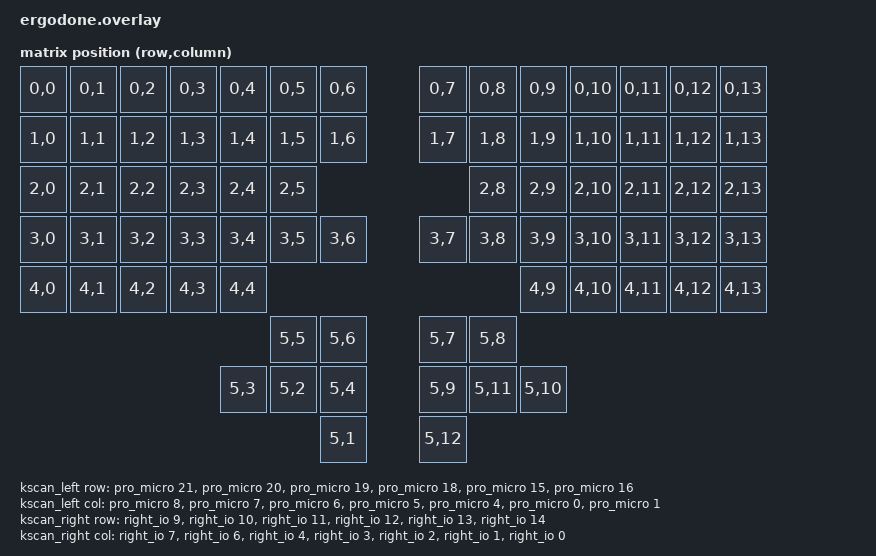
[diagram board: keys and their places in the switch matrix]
/*
 * Copyright (c) 2023 The ZMK Contributors
 *
 * SPDX-License-Identifier: MIT
 */
#include <dt-bindings/zmk/matrix_transform.h>

/ {
    chosen {
        zmk,kscan = &kscan0;
        zmk,matrix_transform = &default_transform;
    };

  // Wakeup key nodes - one per row of the left half (col2row, rows are inputs).
    // Must be children of gpio-keys so the gpios property gets the phandle-array
    // binding needed for GPIO nexus (pro_micro) resolution.
    wakeup_keys: wakeup_keys {
        compatible = "gpio-keys";
        wk_row0: wk_row0 { gpios = <&pro_micro 21 (GPIO_ACTIVE_HIGH | GPIO_PULL_DOWN)>; };
        wk_row1: wk_row1 { gpios = <&pro_micro 20 (GPIO_ACTIVE_HIGH | GPIO_PULL_DOWN)>; };
        wk_row2: wk_row2 { gpios = <&pro_micro 19 (GPIO_ACTIVE_HIGH | GPIO_PULL_DOWN)>; };
        wk_row3: wk_row3 { gpios = <&pro_micro 18 (GPIO_ACTIVE_HIGH | GPIO_PULL_DOWN)>; };
        wk_row4: wk_row4 { gpios = <&pro_micro 15 (GPIO_ACTIVE_HIGH | GPIO_PULL_DOWN)>; };
        wk_row5: wk_row5 { gpios = <&pro_micro 16 (GPIO_ACTIVE_HIGH | GPIO_PULL_DOWN)>; };
    };

    // Wakeup trigger nodes - RESUME configures GPIO SENSE on the row pin and drives
    // all column pins HIGH, so any key press wakes from SYSTEM_OFF.
    wk_trig0: wk_trig0 {
        compatible = "zmk,gpio-key-wakeup-trigger";
        trigger = <&wk_row0>;
        wakeup-source;
        extra-gpios
            = <&pro_micro 8 GPIO_ACTIVE_HIGH>
            , <&pro_micro 7 GPIO_ACTIVE_HIGH>
            , <&pro_micro 6 GPIO_ACTIVE_HIGH>
            , <&pro_micro 5 GPIO_ACTIVE_HIGH>
            , <&pro_micro 4 GPIO_ACTIVE_HIGH>
            , <&pro_micro 0 GPIO_ACTIVE_HIGH>
            , <&pro_micro 1 GPIO_ACTIVE_HIGH>
            ;
    };
    wk_trig1: wk_trig1 {
        compatible = "zmk,gpio-key-wakeup-trigger";
        trigger = <&wk_row1>;
        wakeup-source;
        extra-gpios
            = <&pro_micro 8 GPIO_ACTIVE_HIGH>
            , <&pro_micro 7 GPIO_ACTIVE_HIGH>
            , <&pro_micro 6 GPIO_ACTIVE_HIGH>
            , <&pro_micro 5 GPIO_ACTIVE_HIGH>
            , <&pro_micro 4 GPIO_ACTIVE_HIGH>
            , <&pro_micro 0 GPIO_ACTIVE_HIGH>
            , <&pro_micro 1 GPIO_ACTIVE_HIGH>
            ;
    };
    wk_trig2: wk_trig2 {
        compatible = "zmk,gpio-key-wakeup-trigger";
        trigger = <&wk_row2>;
        wakeup-source;
        extra-gpios
            = <&pro_micro 8 GPIO_ACTIVE_HIGH>
            , <&pro_micro 7 GPIO_ACTIVE_HIGH>
            , <&pro_micro 6 GPIO_ACTIVE_HIGH>
            , <&pro_micro 5 GPIO_ACTIVE_HIGH>
            , <&pro_micro 4 GPIO_ACTIVE_HIGH>
            , <&pro_micro 0 GPIO_ACTIVE_HIGH>
            , <&pro_micro 1 GPIO_ACTIVE_HIGH>
            ;
    };
    wk_trig3: wk_trig3 {
        compatible = "zmk,gpio-key-wakeup-trigger";
        trigger = <&wk_row3>;
        wakeup-source;
        extra-gpios
            = <&pro_micro 8 GPIO_ACTIVE_HIGH>
            , <&pro_micro 7 GPIO_ACTIVE_HIGH>
            , <&pro_micro 6 GPIO_ACTIVE_HIGH>
            , <&pro_micro 5 GPIO_ACTIVE_HIGH>
            , <&pro_micro 4 GPIO_ACTIVE_HIGH>
            , <&pro_micro 0 GPIO_ACTIVE_HIGH>
            , <&pro_micro 1 GPIO_ACTIVE_HIGH>
            ;
    };
    wk_trig4: wk_trig4 {
        compatible = "zmk,gpio-key-wakeup-trigger";
        trigger = <&wk_row4>;
        wakeup-source;
        extra-gpios
            = <&pro_micro 8 GPIO_ACTIVE_HIGH>
            , <&pro_micro 7 GPIO_ACTIVE_HIGH>
            , <&pro_micro 6 GPIO_ACTIVE_HIGH>
            , <&pro_micro 5 GPIO_ACTIVE_HIGH>
            , <&pro_micro 4 GPIO_ACTIVE_HIGH>
            , <&pro_micro 0 GPIO_ACTIVE_HIGH>
            , <&pro_micro 1 GPIO_ACTIVE_HIGH>
            ;
    };
    wk_trig5: wk_trig5 {
        compatible = "zmk,gpio-key-wakeup-trigger";
        trigger = <&wk_row5>;
        wakeup-source;
        extra-gpios
            = <&pro_micro 8 GPIO_ACTIVE_HIGH>
            , <&pro_micro 7 GPIO_ACTIVE_HIGH>
            , <&pro_micro 6 GPIO_ACTIVE_HIGH>
            , <&pro_micro 5 GPIO_ACTIVE_HIGH>
            , <&pro_micro 4 GPIO_ACTIVE_HIGH>
            , <&pro_micro 0 GPIO_ACTIVE_HIGH>
            , <&pro_micro 1 GPIO_ACTIVE_HIGH>
            ;
    };

    soft_off_wakers: soft_off_wakers {
        compatible = "zmk,soft-off-wakeup-sources";
        wakeup-sources = <&wk_trig0 &wk_trig1 &wk_trig2 &wk_trig3 &wk_trig4 &wk_trig5>;
    };


    kscan0: kscan {
        compatible = "zmk,kscan-composite";
        label = "KSCAN";
        rows = <6>;
        columns = <14>;

        left {
            kscan = <&kscan_left>;
        };

        right {
            kscan = <&kscan_right>;
            column-offset = <7>;
        };
    };

	kscan_left: kscan_left {
		compatible = "zmk,kscan-gpio-matrix";
		label = "KSCAN_LEFT";

		diode-direction = "col2row";
		wakeup-source;
        poll-period-ms = <10>;
		

		col-gpios
		= <&pro_micro 8 (GPIO_ACTIVE_HIGH)> //col0 
		, <&pro_micro 7 (GPIO_ACTIVE_HIGH)> //col1
		, <&pro_micro 6 (GPIO_ACTIVE_HIGH)> //col2
		, <&pro_micro 5 (GPIO_ACTIVE_HIGH)> //col3
		, <&pro_micro 4 (GPIO_ACTIVE_HIGH)> //col4
		, <&pro_micro 0 (GPIO_ACTIVE_HIGH)> //col5
		, <&pro_micro 1 (GPIO_ACTIVE_HIGH)> //col6
		;
		row-gpios
		= <&pro_micro 21 (GPIO_ACTIVE_HIGH | GPIO_PULL_DOWN)> //row0 
		, <&pro_micro 20 (GPIO_ACTIVE_HIGH | GPIO_PULL_DOWN)> //row1
		, <&pro_micro 19 (GPIO_ACTIVE_HIGH | GPIO_PULL_DOWN)> //row2
		, <&pro_micro 18 (GPIO_ACTIVE_HIGH | GPIO_PULL_DOWN)> //row3
		, <&pro_micro 15 (GPIO_ACTIVE_HIGH | GPIO_PULL_DOWN)> //row4
		, <&pro_micro 16 (GPIO_ACTIVE_HIGH | GPIO_PULL_DOWN)> //row5
		;
	};

	kscan_right: kscan_right {
		compatible = "zmk,kscan-gpio-matrix";
		label = "KSCAN_RIGHT";

		diode-direction = "row2col";
        poll-period-ms = <10>;

		col-gpios
		= <&right_io 7 (GPIO_ACTIVE_LOW | GPIO_PULL_UP)> //col7
		, <&right_io 6 (GPIO_ACTIVE_LOW | GPIO_PULL_UP)> //col8
		, <&right_io 4 (GPIO_ACTIVE_LOW | GPIO_PULL_UP)> //col9
		, <&right_io 3 (GPIO_ACTIVE_LOW | GPIO_PULL_UP)> //col10
		, <&right_io 2 (GPIO_ACTIVE_LOW | GPIO_PULL_UP)> //col11
		, <&right_io 1 (GPIO_ACTIVE_LOW | GPIO_PULL_UP)> //col12
		, <&right_io 0 (GPIO_ACTIVE_LOW | GPIO_PULL_UP)> //col13
		;
		row-gpios
		= <&right_io 9 (GPIO_ACTIVE_LOW)> //row0
		, <&right_io 10 (GPIO_ACTIVE_LOW)> //row1
		, <&right_io 11 (GPIO_ACTIVE_LOW)> //row2
		, <&right_io 12 (GPIO_ACTIVE_LOW)> //row3
		, <&right_io 13 (GPIO_ACTIVE_LOW)> //row4
		, <&right_io 14 (GPIO_ACTIVE_LOW)> //row5
		;
	};

     default_transform: keymap_transform_0 {
        compatible = "zmk,matrix-transform";
        rows = <6>;
        columns = <14>;
// |  -  | 1 | 2 | 3 | 4 | 5 | x |        | x | 6 | 7 | 8 | 9 | 0 |  -  |
// |  -  | q | w | e | r | t | l |        | l | y | u | i | 0 | p |  \  |
// |  -  | a | s | d | f | g |                | h | j | k | l | ; |  '  |
// | shft| z | x | c | v | b | l |        | l | n | m | , | . | / | shft|
//   | x | x | x | x | x |                        | x | x | x | x | x |
//                       | x | x |        | x | x |
//                   | l | l | x |        | x | l | l |
//                           | x |        | x |
        map = <
            RC(0,0) RC(0,1) RC(0,2) RC(0,3) RC(0,4) RC(0,5) RC(0,6)         RC(0,7) RC(0,8) RC(0,9) RC(0,10) RC(0,11) RC(0,12) RC(0,13)
            RC(1,0) RC(1,1) RC(1,2) RC(1,3) RC(1,4) RC(1,5) RC(1,6)         RC(1,7) RC(1,8) RC(1,9) RC(1,10) RC(1,11) RC(1,12) RC(1,13)
            RC(2,0) RC(2,1) RC(2,2) RC(2,3) RC(2,4) RC(2,5)                         RC(2,8) RC(2,9) RC(2,10) RC(2,11) RC(2,12) RC(2,13)
            RC(3,0) RC(3,1) RC(3,2) RC(3,3) RC(3,4) RC(3,5) RC(3,6)         RC(3,7) RC(3,8) RC(3,9) RC(3,10) RC(3,11) RC(3,12) RC(3,13)
            RC(4,0) RC(4,1) RC(4,2) RC(4,3) RC(4,4)                                         RC(4,9) RC(4,10) RC(4,11) RC(4,12) RC(4,13)
                                                    RC(5,5) RC(5,6)         RC(5,7) RC(5,8)
                                            RC(5,3) RC(5,2) RC(5,4)         RC(5,9) RC(5,11) RC(5,10)
                                                            RC(5,1)         RC(5,12)
        >;
    };


};

&pro_micro_i2c {
	status = "okay";
	clock-frequency = <400000>;

	right_io: mcp230xx@20 {
		compatible = "microchip,mcp230xx";
		status = "okay";
		gpio-controller;
		reg = <0x20>;
		label = "RIGHT_IO";
		#gpio-cells = <2>;
		ngpios = <16>;
	};
};
